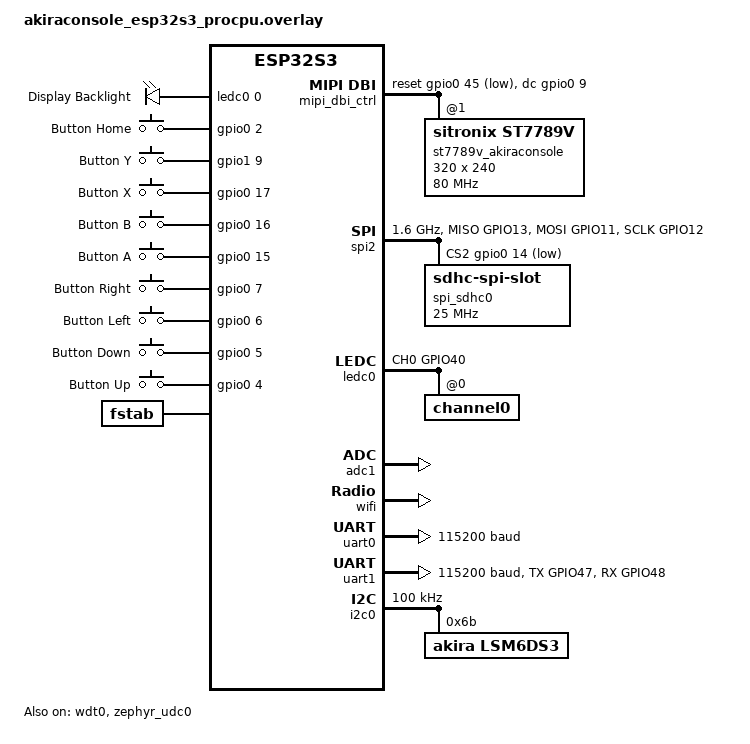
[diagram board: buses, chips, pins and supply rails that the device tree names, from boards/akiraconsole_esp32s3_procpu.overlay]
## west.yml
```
# west.yml - West workspace manifest
manifest: 
  projects:
    # Zephyr RTOS
    - name: zephyr
      url: https://github.com/zephyrproject-rtos/zephyr
      revision: v4.3.0
      west-commands: scripts/west-commands.yml
      import: true

    # WebAssembly Micro Runtime, AkiraOS fork (Xtensa AOT and Zephyr patches).
    # Built by zephyr/CMakeLists.txt when CONFIG_AKIRA_WASM_RUNTIME=y.
    - name: wasm-micro-runtime
      url: https://github.com/ArturR0k3r/wasm-micro-runtime
      revision: d16f743f418ff29048b9ad0ce521033b34df42f8  # AkiraOS_Patch (ESP32-S3 AOT cache-coherency fix + PSRAM tables)
      path: modules/lib/wasm-micro-runtime

    # TensorFlow Lite Micro for AkiraClaw edge AI (CONFIG_AKIRA_TFLITE_MICRO).
    - name: tflite-micro
      url: https://github.com/zephyrproject-rtos/tflite-micro
      revision: 8d404de73acf7687831e16d88e86e4f73cfddf8e  # zephyr-v4.1.0
      path: modules/lib/tflite-micro
    
    # AkiraPlatform (optional enterprise features)
    # Add via build.sh --platform flag to include in compilation
    #- name: akira-platform
    #  url: https://git.penengineering.io/akira/akira-platform
    #  revision: main
    #  path: akira-platform
      
  self:
    path: akira-os
    west-commands: scripts/west-commands.yml
```

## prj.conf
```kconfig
# Build AkiraOS from the akira-os module; every AKIRA_* option depends on this.
CONFIG_AKIRA_OS=y

# Enable AkiraOS WASM runtime (WAMR) - use unified custom runtime by default
CONFIG_AKIRA_WASM_RUNTIME=y
CONFIG_AKIRA_WASM_API=y
CONFIG_AKIRA_RUNTIME_CUSTOM=y
CONFIG_WAMR_AOT_SUPPORT=n
# Disable legacy modular WAMR runtime (we use AKIRA_RUNTIME_CUSTOM)
# (legacy flag removed to avoid contradictory settings)
# Enable self-test during smoke runs on native_sim
CONFIG_AKIRA_SELFTEST=n
CONFIG_NEWLIB_LIBC=n
CONFIG_PICOLIBC=n
CONFIG_EXTERNAL_LIBC=n

###############################################################################
# Core
###############################################################################
CONFIG_SPI=y
CONFIG_GPIO=y
CONFIG_PINCTRL=y
CONFIG_I2C=y

# Hardware unique ID — used to derive a per-device settings encryption key
# (CONFIG_AKIRA_SETTINGS_PER_DEVICE_KEY). Most supported SoCs provide a hwinfo
# driver; boards without one can disable per-device keys in their board .conf.
CONFIG_HWINFO=y

CONFIG_FLASH=y
CONFIG_FLASH_MAP=y
CONFIG_FLASH_PAGE_LAYOUT=y
CONFIG_MPU_ALLOW_FLASH_WRITE=y
CONFIG_STREAM_FLASH=y

###############################################################################
# Kernel & Threads
###############################################################################
# Reduced main/workqueue stack sizes to fit DRAM budget while keeping
# sufficient stack for core tasks. These were lowered after link-time
# DRAM overflow was detected.
CONFIG_MAIN_STACK_SIZE=4096
CONFIG_SYSTEM_WORKQUEUE_STACK_SIZE=1024
CONFIG_IDLE_STACK_SIZE=512
CONFIG_DYNAMIC_THREAD=y
CONFIG_DYNAMIC_THREAD_ALLOC=y
CONFIG_KERNEL_MEM_POOL=y
CONFIG_HEAP_MEM_POOL_SIZE=65536
CONFIG_SYS_HEAP_RUNTIME_STATS=y
CONFIG_THREAD_MONITOR=y

# State Machine Framework (needed by Zephyr)
CONFIG_SMF=y
CONFIG_SMF_ANCESTOR_SUPPORT=y
CONFIG_SMF_INITIAL_TRANSITION=y
CONFIG_THREAD_NAME=y
CONFIG_THREAD_STACK_INFO=y
CONFIG_STATS=y
CONFIG_STATS_NAMES=y
CONFIG_STACK_SENTINEL=y
CONFIG_STACK_CANARIES=y

###############################################################################
# Logging & Debug
###############################################################################
CONFIG_LOG=y
CONFIG_LOG_DEFAULT_LEVEL=3
CONFIG_LOG_MAX_LEVEL=4
CONFIG_LOG_PRINTK=y

###############################################################################
# Console & Shell
###############################################################################
CONFIG_CONSOLE=y
CONFIG_UART_CONSOLE=y
CONFIG_SHELL=y
CONFIG_SHELL_BACKENDS=y
CONFIG_SHELL_BACKEND_SERIAL=y
# Note: SHELL_BACKEND_TELNET and NET_SOCKETS_OFFLOAD are enabled per-board
# (WiFi/Ethernet boards only — not applicable to native_sim or constrained MCUs).
CONFIG_SHELL_PROMPT_UART="AkiraOS:~$ "
CONFIG_SHELL_CMD_BUFF_SIZE=128
CONFIG_SHELL_ARGC_MAX=8
CONFIG_SHELL_TAB=y
CONFIG_SHELL_TAB_AUTOCOMPLETION=y
CONFIG_SHELL_HISTORY=y

###############################################################################
# Networking
###############################################################################
CONFIG_NETWORKING=y
CONFIG_NET_IPV4=y
CONFIG_NET_IPV6=n
CONFIG_NET_TCP=y
CONFIG_NET_UDP=y
CONFIG_NET_SOCKETS=y
# Note: NET_SOCKETS_OFFLOAD is enabled per-board (ESP32 WiFi only).
CONFIG_NET_DHCPV4=y
CONFIG_DNS_RESOLVER=y
CONFIG_MDNS_RESOLVER=y

CONFIG_NET_MGMT=y
CONFIG_NET_MGMT_EVENT=y
CONFIG_NET_MGMT_EVENT_INFO=y
CONFIG_NET_CONFIG_SETTINGS=y
CONFIG_NET_CONFIG_INIT_TIMEOUT=0

# Zephyr's HTTP *server* subsystem is not used: AkiraOS ships its own
# socket-based server (akira_http_server_*, CONFIG_AKIRA_HTTP_SERVER).
# Enabling it cost flash and RAM on every board, and its POSIX shim
# collides with host glibc's pthread types on native_sim (EXTERNAL_LIBC),
# breaking that build outright.
# CONFIG_HTTP_SERVER is intentionally left unset.
CONFIG_WEBSOCKET_CLIENT=y

# WASM Network API — TCP/UDP stream API for WASM apps.
# Depends on NET_TCP/UDP above; enabled and tuned per-board via board .conf.
CONFIG_AKIRA_WASM_NET=n

# Note: AKIRA_HID, AKIRA_BT_HID, AKIRA_BT_SHELL, AKIRA_WASM_BT_SHELL, and
# AKIRA_WASM_HID are enabled per-board (BT+HID-capable boards only).

# WASM core APIs (no hardware dependency)
CONFIG_AKIRA_WASM_LIFECYCLE=y
CONFIG_AKIRA_WASM_IPC=y
# IPC table sizes — 8 topics / 4 subs supports akira.lifecycle + user topics.
CONFIG_AKIRA_IPC_MAX_TOPICS=8
CONFIG_AKIRA_IPC_MAX_SUBS_PER_TOPIC=4

###############################################################################
# File System & Settings
###############################################################################
CONFIG_FILE_SYSTEM=y
CONFIG_DISK_ACCESS=y
# FAT_FILESYSTEM_ELM and its child options are set per-board (only boards with
# SD card hardware enabled). Boards without SD disable FAT in their .conf file.
CONFIG_FILE_SYSTEM_LITTLEFS=y
CONFIG_FILE_SYSTEM_SHELL=y
CONFIG_NVS=y

###############################################################################
# MCUboot / OTA
###############################################################################
CONFIG_BOOTLOADER_MCUBOOT=y
# Enable MCUboot image manager
CONFIG_MCUBOOT_IMG_MANAGER=y
# Enable image management (upload, swap, etc.)
CONFIG_IMG_MANAGER=y
# Enable image validation (signature, hash, etc.)
CONFIG_IMG_ENABLE_IMAGE_CHECK=y
# Erase flash sectors progressively during image write
CONFIG_IMG_ERASE_PROGRESSIVELY=y

# MCUBOOT_SIGNATURE_KEY_FILE is STM32-only — ESP32 uses unsigned images by default
# (Espressif Kconfig.defconfig sets MCUBOOT_GENERATE_UNSIGNED_IMAGE=y on all ESP32 SoCs).
# Set in board-specific .conf for STM32 boards that require imgtool signing.

###############################################################################
# Cryptography
###############################################################################
CONFIG_MBEDTLS=y
CONFIG_MBEDTLS_BUILTIN=y
CONFIG_MBEDTLS_CIPHER_GCM_ENABLED=y
CONFIG_MBEDTLS_CIPHER_AES_ENABLED=y
CONFIG_MBEDTLS_CIPHER_MODE_CTR_ENABLED=y
CONFIG_MBEDTLS_CIPHER=y
CONFIG_ENTROPY_GENERATOR=y
CONFIG_BASE64=y
CONFIG_MBEDTLS_RSA_C=y
CONFIG_MBEDTLS_PKCS1_V15=y
# SHA-1 is required by the WebSocket (RFC 6455) opening handshake
# (Sec-WebSocket-Accept = base64(SHA1(key + GUID))).
CONFIG_MBEDTLS_SHA1=y

###############################################################################
# POSIX / Misc
###############################################################################
CONFIG_POSIX_API=y
CONFIG_REBOOT=y

###############################################################################
# WASM Application Runtime — App Manager, OTA, and management web endpoints
###############################################################################
CONFIG_AKIRA_APP_MANAGER=y
CONFIG_AKIRA_APP_MAX_INSTALLED=24
CONFIG_AKIRA_APP_MAX_RUNNING=2

# OTA Manager
CONFIG_AKIRA_OTA=y

# Web Server / HTTP — enabled by default (Kconfig default y, disable in board conf for no-WiFi boards)
# Embedded Web UI is disabled; device management is via akira-cli over the upload endpoint.
CONFIG_AKIRA_EMBEDDED_WEB=n
# Bearer token for /upload and /api/apps/install. Only enforced when
# CONFIG_AKIRA_HTTP_NO_AUTH=n (its default is y). "tok3n" is a development
# value; CONFIG_AKIRA_RELEASE_BUILD=y rejects it.
CONFIG_AKIRA_HTTP_UPLOAD_TOKEN="tok3n"

###############################################################################
# Security
###############################################################################
# App signing is ON by default. To allow unsigned apps during development only:
#   CONFIG_AKIRA_APP_SIGNING=n
#   CONFIG_AKIRA_ALLOW_UNSIGNED_APPS=y
CONFIG_AKIRA_APP_SIGNING=y

###############################################################################
# Akira Settings
###############################################################################
CONFIG_AKIRA_SETTINGS=y
CONFIG_AKIRA_SETTINGS_ENCRYPTION=y
CONFIG_AKIRA_WASM_SETTINGS=y

###############################################################################
# Time Sync
###############################################################################
CONFIG_SNTP=n

###############################################################################
# AkiraPlatform (Optional Enterprise Features)
# Build with: ./build.sh --platform -b <board>
###############################################################################
#CONFIG_AKIRA_PLATFORM=y
#CONFIG_AKIRA_PLATFORM_HUB=y
#CONFIG_AKIRA_PLATFORM_HUB_ORG_SLUG="penengineering"
#CONFIG_AKIRA_PLATFORM_HUB_HOST="hub.akiraos.dev"
#CONFIG_AKIRA_PLATFORM_HUB_HEARTBEAT_MS=60000
#CONFIG_AKIRA_PLATFORM_HUB_AUTO_CONNECT=y
#CONFIG_AKIRA_PLATFORM_HUB_SHELL=y
#CONFIG_AKIRA_PLATFORM_HUB_CREDENTIALS_BACKEND_NVS=y
#CONFIG_AKIRA_PLATFORM_LOG_LEVEL=3
#CONFIG_AKIRA_PLATFORM_HUB_API_PORT=80
#CONFIG_AKIRA_PLATFORM_WIFI_PROVISIONING=y
```

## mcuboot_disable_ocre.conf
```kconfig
# MCUBoot-specific configuration overrides
# Disable OCRE since MCUBoot is a minimal bootloader that doesn't need WASM runtime
CONFIG_OCRE=n
```

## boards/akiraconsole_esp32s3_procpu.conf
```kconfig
# BOARD_ZEPHYR: akiraconsole/esp32s3/procpu
# BOARD_CHIP: esp32s3
# BOARD_DESC: Akira Console (ESP32-S3 N16R8)
# BOARD_ALIAS: akiraconsole

# ESP32-S3 Specific Configuration
# ESP32-S3 N16R8 Module: 16MB Flash, 8MB PSRAM (OPI)

###############################################################################
# PSRAM (External SPIRAM) Configuration - 8MB OPI PSRAM
###############################################################################
CONFIG_ESP_SPIRAM=y
CONFIG_ESP_SPIRAM_SIZE=8388608
CONFIG_ESP_SPIRAM_HEAP_SIZE=4194304
CONFIG_SPIRAM_MODE_OCT=y
CONFIG_AKIRA_PSRAM=y
CONFIG_SPIRAM_TYPE_ESPPSRAM64=y
# WASM app thread stacks live in SRAM (not PSRAM) to avoid SPI0 bus conflict.
# On ESP32-S3, PSRAM and internal flash share SPI0; a direct flash read
# (e.g. fs_open via LittleFS) disables SPI0 PSRAM cache, crashing any thread
# whose stack is in PSRAM. 16 KB gives WAMR interpreter frames room alongside
# the deep Zephyr display/SPI/DMA call chain (display_bitmap → SPI driver).
# Without enough stack the heap adjacent to the stack is silently corrupted.
# 4 slots x 12 KB = 48 KB SRAM total.
CONFIG_AKIRA_WASM_APP_STACK_SIZE=16384
CONFIG_WAMR_AOT_SUPPORT=y
CONFIG_SPIRAM_SPEED_80M=y

# Enable MEMC driver - REQUIRED for PSRAM configuration
# This allows WAMR heap buffer to be placed in PSRAM instead of internal DRAM
CONFIG_MEMC=y

# Optional: Move read-only data to PSRAM to free internal DRAM 
CONFIG_SPIRAM_RODATA=y
CONFIG_SPIRAM_FETCH_INSTRUCTIONS=y



# Skip PSRAM memtest for faster boot (enable for debugging)
CONFIG_ESP_SPIRAM_MEMTEST=n

###############################################################################
# Thread Local Storage
###############################################################################
# THREAD_LOCAL_STORAGE depends on ARCH_HAS_THREAD_LOCAL_STORAGE (not set for
# Xtensa in Zephyr 4.x). Enabling it with Newlib causes a z_errno_wrap linker
# error because the Xtensa SDK ships picolibc headers in its sysroot.
# WAMR manages THREADPTR initialization independently of Zephyr TLS.

###############################################################################
# Memory Configuration (with PSRAM)
###############################################################################
# 78 KB IS MANDATORY FOR BT AND WIFI STACKS AS WELL AS WAMR HEAP
CONFIG_HEAP_MEM_POOL_SIZE=79872
CONFIG_MAIN_STACK_SIZE=4096
CONFIG_SYSTEM_WORKQUEUE_STACK_SIZE=5120
# Shell needs larger stack for WASM operations
CONFIG_SHELL_STACK_SIZE=6144

# Shared Multi-Heap for PSRAM allocation
CONFIG_SHARED_MULTI_HEAP=y


###############################################################################
# Bluetooth
###############################################################################
CONFIG_BT=n
CONFIG_BT_PERIPHERAL=y
CONFIG_BT_DEVICE_NAME="AkiraOS"
CONFIG_BT_DEVICE_NAME_DYNAMIC=y
CONFIG_BT_DEVICE_NAME_MAX=32
CONFIG_BT_MAX_CONN=1
CONFIG_BT_L2CAP_TX_MTU=300
CONFIG_BT_BUF_ACL_RX_SIZE=300
CONFIG_BT_BUF_ACL_TX_SIZE=300


# GATT
CONFIG_BT_GATT_CLIENT=y
CONFIG_BT_ATT_PREPARE_COUNT=1
# Required for dynamic GATT service register/unregister (ble_app_service)
CONFIG_BT_GATT_DYNAMIC_DB=y

# BT Work Queue Stack Sizes
CONFIG_BT_RX_STACK_SIZE=8192
CONFIG_BT_HCI_TX_STACK_SIZE=2048

# Security
CONFIG_BT_SMP=y
CONFIG_BT_SIGNING=n
CONFIG_BT_BONDABLE=y
CONFIG_BT_KEYS_OVERWRITE_OLDEST=y
CONFIG_BT_SMP_SC_PAIR_ONLY=n
# Service Changed indication — tells bonded peers (iOS/Android/Windows) to
# re-discover GATT database when firmware updates the attribute table.
# Without this, hosts cache stale handles and disconnect with 0x13.
CONFIG_BT_GATT_SERVICE_CHANGED=y
CONFIG_BT_GATT_CACHING=y

# Bond persistence — saves LTK / IRK to NVS so bonds survive reboot
# Without this the device loses keys on reset → security err 4 on reconnect
CONFIG_SETTINGS=y
CONFIG_SETTINGS_NVS=y
CONFIG_BT_SETTINGS=y

# Device Information Service (optional - disable to save memory)
#CONFIG_BT_DIS=y
#CONFIG_BT_DIS_STR_MAX=21
#CONFIG_BT_DIS_SETTINGS=y
# Battery Service (optional - disable to save memory)
# Battery Service - mandatory for HOGP (iOS won't complete HID enumeration without it)
CONFIG_BT_BAS=y
CONFIG_BT_BUF_EVT_RX_COUNT=20
CONFIG_BT_BUF_ACL_TX_COUNT=12
###############################################################################
# HID & BT (BT-capable board — moved from prj.conf)
###############################################################################
CONFIG_AKIRA_HID=y
CONFIG_AKIRA_HID_MODE_KB_MOUSE=y
CONFIG_AKIRA_BT_HID=y


###############################################################################
# ESP32-S3 WiFi/BT
###############################################################################
CONFIG_WIFI=n
CONFIG_WIFI_ESP32=y
CONFIG_ESP_WIFI_HEAP_SPIRAM=y
CONFIG_ESP32_WIFI_STA_AUTO_DHCPV4=y
CONFIG_NET_L2_WIFI_MGMT=y
CONFIG_SHELL_BACKEND_TELNET=y
CONFIG_SHELL_TELNET_SUPPORT_COMMAND=y
CONFIG_NET_SOCKETS_OFFLOAD=y

CONFIG_ESP32_BT_CTLR_LE_MAX_ACT=2
CONFIG_ESP32_BT_CONTROLLER_STACK_SIZE=4096
CONFIG_ESP32_BT_CONTROLLER_TASK_PRIO=2

# SPI for display
CONFIG_SPI=y

# Sensor support
CONFIG_I2C=y
CONFIG_SENSOR=y

# Disable AMPDU if you're still having issues (reduces memory usage)
CONFIG_ESP32_WIFI_AMPDU_TX_ENABLED=n
CONFIG_ESP32_WIFI_AMPDU_RX_ENABLED=n

# Place large static assets into PSRAM where available
CONFIG_AKIRA_FONTS_IN_PSRAM=y
CONFIG_AKIRA_FRAMEBUFFER_IN_PSRAM=y

###############################################################################
# WAMR Memory Configuration - Using PSRAM for large buffers
###############################################################################
# With CONFIG_MEMC=y and ESP32-S3 PSRAM support,
# the WAMR heap buffer is placed in external SPIRAM
# This allows much larger WAMR heap without consuming internal DRAM
# Configure WAMR heap size for PSRAM placement
CONFIG_WAMR_HEAP_SIZE=1048576

# Limit max containers to save memory
CONFIG_MAX_CONTAINERS=2
CONFIG_AKIRA_OTA_DATA_PIPE_SIZE=4096
# Firmware updates arrive over the companion link (ota.begin/end), which needs a
# bonded, encrypted connection; MCUboot also checks the image signature at boot.
# The standalone FE59 GATT transport has no digest check and stays off.
CONFIG_AKIRA_OTA=y
CONFIG_AKIRA_OTA_BLE=n
CONFIG_AKIRA_OTA_HTTP=n
CONFIG_AKIRA_OTA_USB=n
CONFIG_AKIRA_OTA_CLOUD=n

###############################################################################
# Logging - Use immediate mode for debugging
###############################################################################
CONFIG_LOG_MODE_IMMEDIATE=y

CONFIG_AKIRA_BT_ECHO=n
CONFIG_AKIRA_EMBEDDED_WEB=y

###############################################################################
# Display & Input
###############################################################################
CONFIG_DISPLAY=y


###############################################################################
# SD Card Support — SPI-SDHC via GPIO11/12/13/14
# MOSI=GPIO11, SCK=GPIO12, MISO=GPIO13, CS=GPIO14
# DTS node spi_sdhc0 on SPI2 (see akiraconsole_esp32s3_procpu.overlay)
# DISK_DRIVER_SDMMC is auto-selected by DTS (zephyr,sdmmc-disk node enabled)
###############################################################################
# SD disabled here, re-enabled below with app-source support
# CONFIG_AKIRA_SD_CARD=n
# CONFIG_AKIRA_APP_SOURCE_SD=n
# CONFIG_AKIRA_SD_XIP=n

###############################################################################
# USB Stack
###############################################################################
CONFIG_UDC_DWC2_STACK_SIZE=2048
CONFIG_USBD_THREAD_STACK_SIZE=3072

###############################################################################
# RF Transceiver Support
# CC1121 disabled: non-prod board has no ti,cc1121 DT node on SPI2.
###############################################################################
CONFIG_AKIRA_MODULE_RF=y
CONFIG_AKIRA_RF_FRAMEWORK=y

###############################################################################
###############################################################################
# TFT Display Driver — DC=GPIO9, RST=GPIO45, CS=GPIO10
# Set CONFIG_DISPLAY=y plus ONE driver symbol:
#   CONFIG_ST7789V=y              ← ST7789V 240×320  (default, MIPI-DBI SPI)
#   CONFIG_AKIRA_ILI9341_DRIVER=y ← ILI9341 240×320  (Akira driver)
#   CONFIG_LS0XX=y                ← Sharp 400×240
###############################################################################
CONFIG_ST7789V=y
CONFIG_MIPI_DBI=y
# Display and SPI log levels — DBG floods LOG_MODE_IMMEDIATE and stalls SPI
CONFIG_DISPLAY_LOG_LEVEL_WRN=y
CONFIG_MIPI_DBI_LOG_LEVEL_WRN=y
CONFIG_SPI_LOG_LEVEL_WRN=y
CONFIG_LVGL=n


###############################################################################
# Flash configuration
###############################################################################
CONFIG_ESPTOOLPY_FLASHSIZE_16MB=y
CONFIG_ESPTOOLPY_FLASHMODE_DIO=y
CONFIG_ESPTOOLPY_FLASHFREQ_40M=y


###############################################################################
# Akira USB
###############################################################################
CONFIG_AKIRA_USB=n
CONFIG_AKIRA_USB_HID=n

# USB CDC ACM — virtual COM port for Web Serial API (lab.akiraos.dev)
CONFIG_USB_CDC_ACM=y
CONFIG_AKIRA_USB_CDC_SERIAL=y
CONFIG_AKIRA_USB_CDC_SERIAL_RX_BUF_SIZE=2048
CONFIG_AKIRA_USB_CDC_SERIAL_TX_BUF_SIZE=4096

CONFIG_USBD_LOG_LEVEL_INF=n
CONFIG_USBD_HID_LOG_LEVEL_INF=n
CONFIG_UDC_DRIVER_LOG_LEVEL_WRN=n
CONFIG_UDC_DRIVER_LOG_LEVEL_INF=n

###############################################################################
# Bluetooth Companion Service (AkiraApp)
###############################################################################
CONFIG_AKIRA_BT_COMPANION=y
CONFIG_AKIRA_BT_COMPANION_STATUS_INTERVAL_MS=60000
# 512 KB max BLE transfer — allocated in PSRAM so this is a soft ceiling
CONFIG_AKIRA_BT_COMPANION_MAX_TRANSFER_KB=512

###############################################################################
# Sensors - LSM6DS3 IMU on I2C0 (SDA=GPIO8, SCL=GPIO18)
# LSM6DS3TR-C shares WHO_AM_I 0x6A with LSM6DSL — no custom driver needed
###############################################################################
CONFIG_AKIRA_LSM6DS3_DRIVER=y
# WASM-level Timer/I2C APIs
CONFIG_AKIRA_WASM_TIMER=y

###############################################################################
# IPC / HID — PSRAM build: AKIRA_BULK_BSS routes arrays to .ext_ram.bss.
# MSG_MAX_SIZE=256 and QUEUE_DEPTH=4 are board overrides above prj.conf defaults.
###############################################################################
CONFIG_AKIRA_HID_MAX_ACTIONS=16
CONFIG_AKIRA_IPC_MSG_MAX_SIZE=256
CONFIG_AKIRA_IPC_QUEUE_DEPTH=4
CONFIG_AKIRA_WASM_I2C=y

###############################################################################
# WASM API Surface — hardware-specific APIs enabled on this board
###############################################################################
CONFIG_AKIRA_WASM_HID=n

###############################################################################
# Input subsystem — activates gpio-keys DTS driver for AkiraConsole buttons
###############################################################################
CONFIG_INPUT=y
CONFIG_AKIRA_INPUT_API=y
CONFIG_AKIRA_WASM_INPUT=y

###############################################################################
# System API — SD card WASM scanner (requires app.control cap, SD card above)
###############################################################################
CONFIG_AKIRA_SYSTEM_API=y

###############################################################################
# Boot shell — auto-launch akira_shell WASM app after app_manager_init()
# NOTE: With CONFIG_AKIRA_OS_SHELL=y the OS shell starts via SYS_INIT at
# APPLICATION level and does not need BOOT_SHELL.  Keep BOOT_SHELL entries
# only while WASM akira_shell is still installed during the transition.
###############################################################################
CONFIG_AKIRA_BOOT_SHELL=n
# CONFIG_AKIRA_BOOT_SHELL_NAME="akira_shell"
# CONFIG_AKIRA_BOOT_SHELL_RESTART=y

###############################################################################
# Native OS Shell
# Replaces the WASM akira_shell app. Depends on DISPLAY && LVGL.
###############################################################################
CONFIG_AKIRA_OS_SHELL=y
CONFIG_AKIRA_HOME_BUTTON_GPIO=17
CONFIG_AKIRA_OS_VERSION="1.5.1"

CONFIG_AKIRA_WASM_SETTINGS=y
CONFIG_AKIRA_WASM_NET=y

# Network WASM API — board-level overrides (prj.conf sets the defaults).
# akiraconsole has PSRAM so we can afford larger streams and event queue.
CONFIG_AKIRA_NET_MAX_STREAMS=8
CONFIG_AKIRA_NET_POLL_STACK_SIZE=2048
CONFIG_AKIRA_HTTP_SERVER_STACK_SIZE=7168
CONFIG_AKIRA_HTTP_DEV_UPLOAD=y
CONFIG_AKIRA_NET_EVENT_QUEUE_DEPTH=16
CONFIG_AKIRA_WASM_BLE=y

###############################################################################
# ADC — ESP32-S3 SAR ADC via adc1 (alias akira-adc in overlay)
###############################################################################
CONFIG_ADC=y
CONFIG_AKIRA_WASM_ADC=y
CONFIG_AKIRA_WASM_ADC_VREF_MV=3300
CONFIG_AKIRA_WASM_ADC_RESOLUTION=12

###############################################################################
# Watchdog — wdt0 enabled in overlay
###############################################################################
CONFIG_WATCHDOG=n
CONFIG_AKIRA_WDT=y
CONFIG_AKIRA_WASM_WDT=y

###############################################################################
# PWM- ledc0 in overlay
###############################################################################
CONFIG_PWM=y

# Network socket service stack - increased for OTA and upload operations
CONFIG_NET_SOCKETS_SERVICE_STACK_SIZE=1024

# File system limits - needed for OTA and DNS resolver
CONFIG_ZVFS_POLL_MAX=8
CONFIG_ZVFS_OPEN_MAX=12



# WASM CONFIGS (enable to export api)
CONFIG_AKIRA_WASM_FS=y
CONFIG_AKIRA_WASM_SETTINGS=y
CONFIG_AKIRA_WASM_RTC=y
CONFIG_AKIRA_WASM_TIMER=y
CONFIG_AKIRA_WASM_PWM=y
CONFIG_AKIRA_WASM_UART=y
CONFIG_AKIRA_WASM_CRYPTO=y
CONFIG_AKIRA_WASM_OTA=y
CONFIG_AKIRA_WASM_API=y
CONFIG_AKIRA_INPUT_API=y
CONFIG_AKIRA_WASM_INPUT=y
CONFIG_AKIRA_SD_CARD=y
CONFIG_AKIRA_APP_SOURCE_SD=y
CONFIG_AKIRA_SD_XIP=y
CONFIG_FS_FATFS_LFN=y
CONFIG_FS_FATFS_MAX_LFN=255
CONFIG_AKIRA_SYSTEM_API=y
# CoAP is for Platform transport
#CONFIG_COAP=yCONFIG_STREAM_FLASH_INSPECT=n
```

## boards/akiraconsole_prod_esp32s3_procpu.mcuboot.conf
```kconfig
# SPDX-License-Identifier: Apache-2.0
#
# MCUboot config for AkiraConsole Prod. build.sh builds MCUboot with the board's
# AkiraOS overlay so the partition layout matches the app, and that overlay
# enables the TCA6408 I/O expander on I2C. MCUboot is single-threaded, so the
# expander driver (gpio_pca_series: k_work, k_sem) does not link. The bootloader
# needs neither the expander nor I2C (the expander driver selects I2C).
CONFIG_GPIO_PCA_SERIES=n
CONFIG_I2C=n
```

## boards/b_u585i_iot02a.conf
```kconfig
# B-U585I-IOT02A Board Configuration
# Large partition build (904KB slot)

# Console
CONFIG_CONSOLE=y
CONFIG_UART_CONSOLE=y
CONFIG_SERIAL=y
CONFIG_PRINTK=y
CONFIG_EARLY_CONSOLE=y

# Logging
CONFIG_LOG=y
CONFIG_LOG_DEFAULT_LEVEL=3
CONFIG_LOG_PRINTK=y
CONFIG_LOG_MODE_IMMEDIATE=y

# Memory (768KB SRAM)
CONFIG_HEAP_MEM_POOL_SIZE=262144
CONFIG_MAIN_STACK_SIZE=8192
CONFIG_ISR_STACK_SIZE=4096

# Sensors
CONFIG_SENSOR=y
CONFIG_I2C=y

# Crypto
CONFIG_CRYPTO=y
# TINYCRYPT not available in this Zephyr configuration; disable to avoid Kconfig warnings
# CONFIG_TINYCRYPT=y
# CONFIG_TINYCRYPT_AES=y
# CONFIG_TINYCRYPT_SHA256=y

# Settings
CONFIG_SETTINGS=y
CONFIG_NVS=y
CONFIG_FLASH=y
CONFIG_FLASH_MAP=y

# Shell
CONFIG_SHELL=y
CONFIG_SHELL_BACKEND_SERIAL=y
CONFIG_SHELL_PROMPT_UART="akira:~$ "

# USB
# CONFIG_USB_DEVICE_STACK=y
# CONFIG_USB_DEVICE_PRODUCT="AkiraOS B-U585I-IOT02A"
# CONFIG_USB_CDC_ACM=y
# CONFIG_UART_LINE_CTRL=y

# OTA over USB - Disabled as it is not yet supported and tested on B-U585I-IOT02A
CONFIG_AKIRA_OTA_USB=n    

# Networking (Ethernet)
CONFIG_NETWORKING=y
CONFIG_NET_IPV4=y
CONFIG_NET_TCP=y
CONFIG_NET_UDP=y
CONFIG_NET_SOCKETS=y
CONFIG_NET_DHCPV4=y

CONFIG_NET_L2_ETHERNET=y

# LittleFS
CONFIG_FILE_SYSTEM=y
CONFIG_FILE_SYSTEM_LITTLEFS=y

# Disable ESP32-specific
CONFIG_ESP_SPIRAM=n
CONFIG_ESP32_WIFI_STA_AUTO_DHCPV4=n
```

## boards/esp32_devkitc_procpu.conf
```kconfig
# BOARD_ZEPHYR: esp32_devkitc/esp32/procpu
# BOARD_CHIP: esp32
# BOARD_DESC: ESP32 DevKitC

# ESP32 DevKitC

# WiFi Configuration
CONFIG_WIFI=y
CONFIG_WIFI_ESP32=y
CONFIG_NET_L2_WIFI_MGMT=y
CONFIG_ESP32_WIFI_STA_AUTO_DHCPV4=y
# ESP32-WROOM-32 has no external PSRAM — SPIRAM/PSRAM options must be off.
# If using an ESP32-WROVER module (which has 4MB/8MB PSRAM), you can
# re-enable: CONFIG_ESP_SPIRAM, CONFIG_MEMC, CONFIG_AKIRA_FONTS_IN_PSRAM.

###############################################################################
# DRAM budget: ~300 KB total, WiFi stack alone uses ~100 KB.
# Aggressive DRAM reduction is required — total savings target: ~215 KB.
###############################################################################

# WASM runtime enabled with a reduced heap to fit in DRAM.
# ESP32-WROOM-32 has ~300 KB usable DRAM; WiFi + mbedTLS consume ~150 KB.
# Tune CONFIG_WAMR_HEAP_SIZE downward if link-time DRAM overflow is reported.
# Set to 0 and also set CONFIG_AKIRA_WASM_RUNTIME=n to disable WASM entirely.
CONFIG_WAMR_HEAP_SIZE=32768

# Reduce kernel heap from 64 KB (prj.conf default) to 8 KB — saves 57 KB.
# The DevKitC is a development board; large dynamic allocations are not needed.
CONFIG_HEAP_MEM_POOL_SIZE=8192

# Telnet shell backend disabled — saves stack + internal buffers (~4 KB).
CONFIG_SHELL_BACKEND_TELNET=n
CONFIG_SHELL_TELNET_SUPPORT_COMMAND=n

# Tighten network buffers (prj.conf sets 12/10 × 256 B; cut to 4 × 128 B).
CONFIG_NET_BUF_RX_COUNT=4
CONFIG_NET_BUF_TX_COUNT=4
CONFIG_NET_PKT_RX_COUNT=4
CONFIG_NET_PKT_TX_COUNT=4
CONFIG_NET_MAX_CONN=2

# OTA over HTTP is impractical without PSRAM (no buffer for the full image).
CONFIG_AKIRA_OTA=n
CONFIG_AKIRA_OTA_HTTP=n

# Embedded web server not useful for headless DevKitC.
CONFIG_AKIRA_HTTP_SERVER=n

# Settings encryption requires mbedTLS AES; disable to slim BSS.
CONFIG_AKIRA_SETTINGS_ENCRYPTION=n


# Default stack sizes
CONFIG_MAIN_STACK_SIZE=4096

# Shell and size optimizations for headless DevKitC
CONFIG_SHELL_HISTORY=n
CONFIG_SHELL_MINIMAL=y
CONFIG_SIZE_OPTIMIZATIONS=y

CONFIG_STREAM_FLASH_INSPECT=n
```

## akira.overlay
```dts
/ {
    chosen {
        zephyr,sram = &sram0;
        zephyr,console = &uart0;
        zephyr,shell-uart = &uart0;
        zephyr,flash = &flash0;
        zephyr,display = &ili9341;
    };

    aliases {
        led0 = &status_led;
        led1 = &charge_led;
        sw0 = &key_up;
        sw1 = &key_right;
        sw2 = &key_down;
        sw3 = &key_left;
        sw4 = &key_a;
        sw5 = &key_b;
        sw6 = &key_x;
        sw7 = &key_y;
        sw8 = &key_settings;
    };

    leds {
        compatible = "gpio-leds";
        status_led: status_led {
            gpios = <&gpio0 12 GPIO_ACTIVE_HIGH>;
            label = "Status LED (Blue)";
        };
        charge_led: charge_led {
            gpios = <&gpio0 13 GPIO_ACTIVE_HIGH>;
            label = "Charge LED (Yellow)";
        };
    };

    gpio_keys {
        compatible = "gpio-keys";

        key_up: key_up {
            gpios = <&gpio0 36 (GPIO_PULL_UP | GPIO_ACTIVE_LOW)>;
            label = "UP Button";
        };
        key_right: key_right {
            gpios = <&gpio0 39 (GPIO_PULL_UP | GPIO_ACTIVE_LOW)>;
            label = "RIGHT Button";
        };
        key_down: key_down {
            gpios = <&gpio0 34 (GPIO_PULL_UP | GPIO_ACTIVE_LOW)>;
            label = "DOWN Button";
        };
        key_left: key_left {
            gpios = <&gpio0 35 (GPIO_PULL_UP | GPIO_ACTIVE_LOW)>;
            label = "LEFT Button";
        };
        key_a: key_a {
            gpios = <&gpio0 32 (GPIO_PULL_UP | GPIO_ACTIVE_LOW)>;
            label = "A Button";
        };
        key_b: key_b {
            gpios = <&gpio0 33 (GPIO_PULL_UP | GPIO_ACTIVE_LOW)>;
            label = "B Button";
        };
        key_x: key_x {
            gpios = <&gpio0 25 (GPIO_PULL_UP | GPIO_ACTIVE_LOW)>;
            label = "X Button";
        };
        key_y: key_y {
            gpios = <&gpio0 26 (GPIO_PULL_UP | GPIO_ACTIVE_LOW)>;
            label = "Y Button";
        };
        key_settings: key_settings {
            gpios = <&gpio0 27 (GPIO_PULL_UP | GPIO_ACTIVE_LOW)>;
            label = "Settings Button";
        };
    };

    mipi_dbi {
        compatible = "zephyr,mipi-dbi-spi";
        spi-dev = <&spi2>;
        dc-gpios = <&gpio0 2 GPIO_ACTIVE_HIGH>;
        reset-gpios = <&gpio0 4 GPIO_ACTIVE_LOW>;
        #address-cells = <1>;
        #size-cells = <0>;

        ili9341: ili9341@0 {
            compatible = "ilitek,ili9341";
            reg = <0>;
            spi-max-frequency = <25000000>;
            width = <240>;
            height = <320>;
            rotation = <0>;
        };
    };
};

&spi2 {
    status = "okay";
    pinctrl-0 = <&spim2_default>;
    pinctrl-names = "default";
    cs-gpios = <&gpio0 5 GPIO_ACTIVE_LOW>,
               <&gpio0 17 GPIO_ACTIVE_LOW>,
               <&gpio0 15 GPIO_ACTIVE_LOW>;
};

&uart0 {
    status = "okay";
    current-speed = <115200>;
    pinctrl-0 = <&uart0_default>;
    pinctrl-names = "default";
};

&wifi {
    status = "okay";
};
```

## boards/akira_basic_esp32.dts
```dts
// SPDX-License-Identifier: Apache-2.0

/dts-v1/;

#include <espressif/esp32/esp32_wrover_e_n4r8.dtsi>
#include "akira_basic_esp32-pinctrl.dtsi"

/ {
    model = "Akira Basic ESP32 Console";
    compatible = "akira,basic-esp32";

    chosen {
        zephyr,sram = &sram0;
        zephyr,console = &uart0;
        zephyr,shell-uart = &uart0;
        zephyr,flash = &flash0;
        zephyr,display = &ili9341;
    };

    aliases {
        led0 = &status_led;
        led1 = &charge_led;
        sw0 = &key_up;
        sw1 = &key_right;
        sw2 = &key_down;
        sw3 = &key_left;
        sw4 = &key_a;
        sw5 = &key_b;
        sw6 = &key_x;
        sw7 = &key_y;
        sw8 = &key_settings;
    };

    leds {
        compatible = "gpio-leds";
        status_led: status_led {
            gpios = <&gpio0 12 GPIO_ACTIVE_HIGH>;
            label = "Status LED (Blue)";
        };
        charge_led: charge_led {
            gpios = <&gpio0 13 GPIO_ACTIVE_HIGH>;
            label = "Charge LED (Yellow)";
        };
    };

    gpio_keys {
        compatible = "gpio-keys";
        
        key_up: key_up {
            gpios = <&gpio0 36 (GPIO_PULL_UP | GPIO_ACTIVE_LOW)>;
            label = "UP Button";
        };
        key_right: key_right {
            gpios = <&gpio0 39 (GPIO_PULL_UP | GPIO_ACTIVE_LOW)>;
            label = "RIGHT Button";
        };
        key_down: key_down {
            gpios = <&gpio0 34 (GPIO_PULL_UP | GPIO_ACTIVE_LOW)>;
            label = "DOWN Button";
        };
        key_left: key_left {
            gpios = <&gpio0 35 (GPIO_PULL_UP | GPIO_ACTIVE_LOW)>;
            label = "LEFT Button";
        };
        key_a: key_a {
            gpios = <&gpio0 32 (GPIO_PULL_UP | GPIO_ACTIVE_LOW)>;
            label = "A Button";
        };
        key_b: key_b {
            gpios = <&gpio0 33 (GPIO_PULL_UP | GPIO_ACTIVE_LOW)>;
            label = "B Button";
        };
        key_x: key_x {
            gpios = <&gpio0 25 (GPIO_PULL_UP | GPIO_ACTIVE_LOW)>;
            label = "X Button";
        };
        key_y: key_y {
            gpios = <&gpio0 26 (GPIO_PULL_UP | GPIO_ACTIVE_LOW)>;
            label = "Y Button";
        };
        key_settings: key_settings {
            gpios = <&gpio0 27 (GPIO_PULL_UP | GPIO_ACTIVE_LOW)>;
            label = "Settings Button";
        };
    };

    mipi_dbi {
        compatible = "zephyr,mipi-dbi-spi";
        spi-dev = <&spi2>;
        dc-gpios = <&gpio0 2 GPIO_ACTIVE_HIGH>;
        reset-gpios = <&gpio0 4 GPIO_ACTIVE_LOW>;
        #address-cells = <1>;
        #size-cells = <0>;

        ili9341: ili9341@0 {
            compatible = "ilitek,ili9341";
            reg = <0>;
            spi-max-frequency = <25000000>;
            width = <240>;
            height = <320>;
            rotation = <0>;
        };
    };
};

&spi2 {
    status = "okay";
    pinctrl-0 = <&spim2_default>;
    pinctrl-names = "default";
    
    cs-gpios = <&gpio0 5 GPIO_ACTIVE_LOW>,   // Display CS
               <&gpio0 17 GPIO_ACTIVE_LOW>,  // Touch CS  
               <&gpio0 15 GPIO_ACTIVE_LOW>;  // SD Card CS
};

&wifi {
    status = "okay";
};

&uart0 {
    status = "okay";
    current-speed = <115200>;
    pinctrl-0 = <&uart0_default>;
    pinctrl-names = "default";
};
```

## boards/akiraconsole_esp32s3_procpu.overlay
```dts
// Include required headers
#include <zephyr/dt-bindings/gpio/gpio.h>
#include <zephyr/dt-bindings/spi/spi.h>
#include <zephyr/dt-bindings/mipi_dbi/mipi_dbi.h>
#include <zephyr/dt-bindings/pwm/pwm.h>

// ============================================================================
// PSRAM Configuration - ESP32-S3 N16R8 (8MB OPI PSRAM)
// ============================================================================
// The ESP32-S3 N16R8 module has 8MB external OPI PSRAM
// This enables the psram0 node with the correct size for memory allocation
&psram0 {
    size = <DT_SIZE_M(8)>;
    status = "okay";
};

// ============================================================================
// SPI2 Configuration for ST7789 Display
// ============================================================================
&pinctrl
{
    spim2_default: spim2_default {
        group1 {
            pinmux = <SPIM2_MISO_GPIO13>, // MISO - GPIO13
                     <SPIM2_MOSI_GPIO11>, // MOSI - GPIO11
                     <SPIM2_SCLK_GPIO12>; // SCK  - GPIO12
        };
    };

    // UART1: secondary UART for WASM apps (TX=GPIO47, RX=GPIO48)
    uart1m0_default: uart1m0_default {
        group1 {
            pinmux = <UART1_TX_GPIO47>;
            output-enable;
        };
        group2 {
            pinmux = <UART1_RX_GPIO48>;
            bias-pull-up;
        };
    };

    // LEDC CH0: PWM output for WASM apps (GPIO40)
    ledc0_default: ledc0_default {
        group1 {
            pinmux = <LEDC_CH0_GPIO40>;
            output-enable;
        };
    };

    // I2C0: LSM6DS3 IMU (SDA=GPIO8, SCL=GPIO18)
    i2cm0_default: i2cm0_default {
        group1 {
            pinmux = <I2C0_SDA_GPIO8>,
                     <I2C0_SCL_GPIO18>;
            bias-pull-up;
            drive-open-drain;
        };
    };
};

&spi2
{
    status = "okay";
    pinctrl-0 = <&spim2_default>;
    pinctrl-names = "default";
    clock-frequency = <1600000000>; // For display

    // CS GPIO array: CS0 unused, GPIO10 for ST7789, GPIO14 for SD card
    cs-gpios = <&gpio1 6 GPIO_ACTIVE_LOW>,  // CS0: unused
               <&gpio0 10 GPIO_ACTIVE_LOW>, // CS1: GPIO10 for ST7789 display
               <&gpio0 14 GPIO_ACTIVE_LOW>; // CS2: GPIO14 for SD card (SD_CS)

    // ========================================================================
    // SD Card — SPI-SDHC via CS2 (GPIO14)
    // Wiring: MOSI=GPIO11, SCK=GPIO12, MISO=GPIO13, CS=GPIO14
    // Enable with CONFIG_AKIRA_SD_CARD=y CONFIG_DISK_DRIVER_SDHC=y CONFIG_SDHC=y
    // ========================================================================
    spi_sdhc0: sdhc@2 {
        compatible = "zephyr,sdhc-spi-slot";
        reg = <2>;                              /* uses cs-gpios[2] = GPIO14 */
        status = "okay";
        spi-max-frequency = <25000000>;         /* 25 MHz max for SD card SPI */
        mmc {
            compatible = "zephyr,sdmmc-disk";
            disk-name = "SD";
            status = "okay";
        };
    };
};

// ============================================================================
// Backlight PWM — LEDC channel 0 routed to GPIO3 via the GPIO matrix.
// Frequency: 1 kHz, 8-bit resolution → 256 duty steps.
// ============================================================================
&ledc0 {
    status = "okay";
    pinctrl-0 = <&ledc0_default>;
    pinctrl-names = "default";
    #address-cells = <1>;
    #size-cells = <0>;

    channel0@0 {
        reg = <0x0>;
        timer = <0>;
    };
};

// Backlight LED device for PWM control
/ {
    backlight: backlight {
        compatible = "pwm-leds";
        bl_pwm: bl_pwm {
            pwms = <&ledc0 0 PWM_HZ(10000) PWM_POLARITY_NORMAL>;
            label = "Display Backlight";
        };
    };

    aliases {
        pwm-backlight0 = &backlight;
    };
};

// ============================================================================
// ADC Configuration
// adc1 is the SAR ADC available on ESP32-S3 (10-bit/12-bit).
// akira-adc alias lets the akira_adc_api resolve the device without
// board-specific code.
// ============================================================================
&adc1 {
    status = "okay";
};

/ {
    aliases {
        akira-adc = &adc1;
    };
};

// ============================================================================
// Watchdog Configuration
// wdt0 is the Main System Timer watchdog on ESP32-S3.
// ============================================================================
&wdt0 {
    status = "okay";
};

/ {
    chosen {
        zephyr,display = &st7789v_akiraconsole;
    };

    mipi_dbi_ctrl: mipi_dbi_akiraconsole {
        compatible = "zephyr,mipi-dbi-spi";
        spi-dev = <&spi2>;
        dc-gpios = <&gpio0 9 GPIO_ACTIVE_HIGH>;    // TFT_DC  - GPIO9
        reset-gpios = <&gpio0 45 GPIO_ACTIVE_LOW>; // TFT_RST - GPIO45
        write-only;
        #address-cells = <1>;
        #size-cells = <0>;

        st7789v_akiraconsole: st7789v@1 {
            compatible = "sitronix,st7789v";
            mipi-max-frequency = <80000000>;
            reg = <1>;
            width = <320>;
            height = <240>;
            x-offset = <0>;
            y-offset = <0>;
            inversion-off;
            vcom = <0x19>;
            gctrl = <0x35>;
            vrhs = <0x12>;
            vdvs = <0x20>;
            mdac = <0x68>;
            gamma = <0x01>;
            colmod = <0x55>;
            lcm = <0x2c>;
            porch-param = [0c 0c 00 33 33];
            cmd2en-param = [5a 69 02 01];
            pwctrl1-param = [a4 a1];
            pvgam-param = [D0 04 0D 11 13 2B 3F 54 4C 18 0D 0B 1F 23];
            nvgam-param = [D0 04 0C 11 13 2C 3F 44 51 2F 1F 1F 20 23];
            ram-param = [00 F0];
            rgb-param = [CD 08 14];
            mipi-mode = "MIPI_DBI_MODE_SPI_4WIRE";
        };
    };
};

// ============================================================================
// Display:
// Default (ST7789V): zephyr,display → &st7789v_akiraconsole as in board DTS.
// ILI9341 override:  set CONFIG_AKIRA_ILI9341_DRIVER=y in
//   boards/akiraconsole_esp32s3_procpu.conf — CMakeLists.txt will then append
//   boards/akiraconsole/akiraconsole_esp32s3_procpu_ili9341.overlay which
//   overrides chosen and disables the ST7789V/MIPI-DBI nodes.
// ============================================================================

// ============================================================================
// GPIO Configuration
// ============================================================================
&gpio0
{
    status = "okay";
};

&gpio1
{
    status = "okay";
};

// ============================================================================
// Button Configuration - Game Controller Layout
// ============================================================================
/ {
    gpio_keys {
        compatible = "gpio-keys";
        
        button_home: button_home {
            gpios = <&gpio0 2 (GPIO_PULL_DOWN | GPIO_ACTIVE_HIGH)>; // GPIO2
            label = "Button Home";
            zephyr,code = <10>; // AKIRA_BTN_HOME
        };

        button_y: button_y {
            gpios = <&gpio1 9 (GPIO_PULL_DOWN | GPIO_ACTIVE_HIGH)>; // GPIO9
            label = "Button Y";
            zephyr,code = <9>; // AKIRA_BTN_Y
        };
        
        button_x: button_x {
            gpios = <&gpio0 17 (GPIO_PULL_DOWN | GPIO_ACTIVE_HIGH)>; // GPIO17
            label = "Button X";
            zephyr,code = <8>; // AKIRA_BTN_X
        };
        
        button_b: button_b {
            gpios = <&gpio0 16 (GPIO_PULL_DOWN | GPIO_ACTIVE_HIGH)>; // GPIO16
            label = "Button B";
            zephyr,code = <7>; // AKIRA_BTN_B
        };
        
        button_a: button_a {
            gpios = <&gpio0 15 (GPIO_PULL_DOWN | GPIO_ACTIVE_HIGH)>; // GPIO15
            label = "Button A";
            zephyr,code = <6>; // AKIRA_BTN_A
        };
        
        button_right: button_right {
            gpios = <&gpio0 7 (GPIO_PULL_DOWN | GPIO_ACTIVE_HIGH)>; // GPIO7
            label = "Button Right";
            zephyr,code = <5>; // AKIRA_BTN_RIGHT
        };
        
        button_left: button_left {
            gpios = <&gpio0 6 (GPIO_PULL_DOWN | GPIO_ACTIVE_HIGH)>; // GPIO6
            label = "Button Left";
            zephyr,code = <4>; // AKIRA_BTN_LEFT
        };
        
        button_down: button_down {
            gpios = <&gpio0 5 (GPIO_PULL_DOWN | GPIO_ACTIVE_HIGH)>; // GPIO5
            label = "Button Down";
            zephyr,code = <3>; // AKIRA_BTN_DOWN
        };
        
        button_up: button_up {
            gpios = <&gpio0 4 (GPIO_PULL_DOWN | GPIO_ACTIVE_HIGH)>; // GPIO4
            label = "Button Up";
            zephyr,code = <2>; // AKIRA_BTN_UP
        };
    };
};

// WiFi configuration
&wifi
{
    status = "okay";
    // WiFi credentials will be managed by settings module
};

// UART configuration for shell and logging
&uart0
{
    status = "okay";
    current-speed = <115200>;
};

// UART1 — secondary UART exposed to WASM apps via akira_uart_api
// TX=GPIO47  RX=GPIO48  (both free on AkiraConsole DIY)
&uart1
{
    status = "okay";
    current-speed = <115200>;
    pinctrl-0 = <&uart1m0_default>;
    pinctrl-names = "default";
};

// LEDC — hardware PWM controller exposed to WASM apps via akira_pwm_api
// CH0 output on GPIO40 (free pin on AkiraConsole DIY)
&ledc0
{
    pinctrl-0 = <&ledc0_default>;
    pinctrl-names = "default";
    status = "okay";
    #address-cells = <1>;
    #size-cells = <0>;

    channel0@0 {
        reg = <0x0>;
        timer = <0>;
    };
};

// I2C configuration - LSM6DS3 IMU on SDA=GPIO8, SCL=GPIO18
&i2c0
{
    status = "okay";
    pinctrl-0 = <&i2cm0_default>;
    pinctrl-names = "default";
    clock-frequency = <I2C_BITRATE_STANDARD>;

    // LSM6DS3 6-axis IMU (accel + gyro)
    // SA0 pulled high → I2C address 0x6B  WHO_AM_I = 0x69
    lsm6ds3: lsm6ds3@6b {
        compatible = "akira,lsm6ds3";
        reg = <0x6b>;
        status = "okay";
    };
};

// USB Device Controller configuration
&zephyr_udc0 {
    status = "okay";
    
    hid_dev_0: hid_dev_0 {
        compatible = "zephyr,hid-device";
        protocol-code = "none";
        in-polling-period-us = <1000>;
        out-polling-period-us = <1000>;
        in-report-size = <64>;
        out-report-size = <64>;
    };
};

/ {
    fstab {
		compatible = "zephyr,fstab";

		lfs1: lfs1 {
			compatible = "zephyr,fstab,littlefs";
			read-size = <1>;
			prog-size = <16>;
			cache-size = <256>;
			lookahead-size = <32>;
			block-cycles = <512>;
			partition = <&lfs1_partition>;
			mount-point = "/lfs";
		};
	};
};

/* Route Zephyr settings NVS backend to our dedicated NVS partition.
 * Required for CONFIG_BT_SETTINGS=y (bond persistence). */
/ {
    chosen {
        zephyr,settings-partition = &akira_settings_nvs_partition;
    };
};

// Flash memory partitions - add custom partitions to existing partition table
// NOTE: The AMP partition table (partitions_0x0_amp_4M.dtsi) occupies
// 0x000000–0x3FFFFF.  slot1_partition lives at 0x170000–0x2C0000.
// Our custom partitions MUST be placed at 0x400000 or higher so that OTA
// writes to slot1 do not overwrite NVS settings or the LittleFS filesystem.
// The AkiraConsole module has 8 MB flash (esp32s3_mini_n8 = DT_SIZE_M(8)),
// so 0x400000–0x7FFFFF is fully available for custom use.
&flash0 {
    partitions {
        akira_settings_nvs_partition: partition@400000 {
            label = "akira_settings_nvs";
            reg = <0x00400000 DT_SIZE_K(32)>;
        };

        lfs1_partition: partition@408000 {
			label = "lfs_storage";
			reg = <0x00408000 DT_SIZE_K(1024)>;
		};

        /* Hub credentials NVS — device_id + auth token
         * 2 × 4 KB sectors; placed after LittleFS well within 8 MB flash. */
        hub_nvs_partition: partition@488000 {
            label = "hub_nvs";
            reg = <0x00488000 DT_SIZE_K(8)>;
        };
    };
};
```

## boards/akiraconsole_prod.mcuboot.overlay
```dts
/*
 * SPDX-FileCopyrightText: 2025 Akira Technology
 * SPDX-License-Identifier: Apache-2.0
 *
 * MCUboot overlay for akiraconsole_prod (ESP32-S3).
 *
 * The board DTS has i2c0 and tca6408 (nxp,pca9538) enabled. Both pull in
 * drivers that reference Zephyr kernel semaphores and work queues
 * (k_sem_take/give, k_work_init/submit), which are not present in MCUboot's
 * scheduler-less build, causing linker errors. Disable them here; the app
 * overlay re-enables them under #ifndef CONFIG_MCUBOOT.
 *
 * spi2 is disabled because its cs-gpios reference tca6408 GPIO pins. With
 * the expander disabled, spi2 init would fail trying to acquire those GPIO
 * handles. MCUboot uses only internal flash; no SPI peripheral is needed.
 *
 * WiFi and Bluetooth are disabled to keep IRAM within MCUboot's budget,
 * matching the pattern used for esp32c6_devkitc.
 */

&i2c0         { status = "disabled"; };
&tca6408      { status = "disabled"; };
&spi2         { status = "disabled"; };
&wifi         { status = "disabled"; };
&esp32_bt_hci { status = "disabled"; };
&dma          { status = "disabled"; };
```

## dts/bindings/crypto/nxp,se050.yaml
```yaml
# Copyright (c) 2026 AkiraOS Project
# SPDX-License-Identifier: Apache-2.0

description: |
  NXP EdgeLock SE050 Plug & Trust secure element (I2C interface).

  Communicates over I2C using the ISO7816 T=1' block protocol tunnelled over
  I2C (a.k.a. "T=1 over I2C" / SCI2C). The ISO7816 contact interface and the
  SE050 I2C-master feature are not used by this driver.

compatible: "nxp,se050"

include: i2c-device.yaml

properties:

  enable-gpios:
    type: phandle-array
    required: false
    description: |
      GPIO connected to the SE050 ENA (enable) pin. Active high; when driven
      low the SE050 enters deep power-down (~40 uA incl. the 110k pull-up).
      The driver drives it high at init and low when the OS enters deep sleep.
```

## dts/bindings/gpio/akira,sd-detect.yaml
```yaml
# Copyright (c) 2026 AkiraOS Project
# SPDX-License-Identifier: Apache-2.0

description: |
  Generic SD card-detect GPIO.

  Board-agnostic hook for CONFIG_AKIRA_SD_HOTPLUG: points at whatever pin
  carries card-detect on a given board, whether a native SoC GPIO or a pin
  on an I2C/SPI GPIO expander. src/storage/sd_card.c binds to this node via
  DT_COMPAT_GET_ANY_STATUS_OKAY and never hardcodes a controller or pin.

compatible: "akira,sd-detect"

properties:
  detect-gpios:
    type: phandle-array
    required: true
    description: |
      GPIO that reads card presence. Active level (GPIO_ACTIVE_LOW/HIGH)
      is set per-board in the phandle-array flags to match the holder's
      detect switch polarity.
```

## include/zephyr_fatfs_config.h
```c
/* Application FatFs config override */

/* Fix version mismatch - Zephyr expects 80386 but fatfs provides 5380 */
#ifndef FFCONF_DEF
#define FFCONF_DEF 80386
#endif

// #undef FF_VOLUMES
// #define FF_VOLUMES 2

// /* Optional: long filename support */
// #define FF_USE_LFN 2
// #define FF_MAX_LFN 255
```
